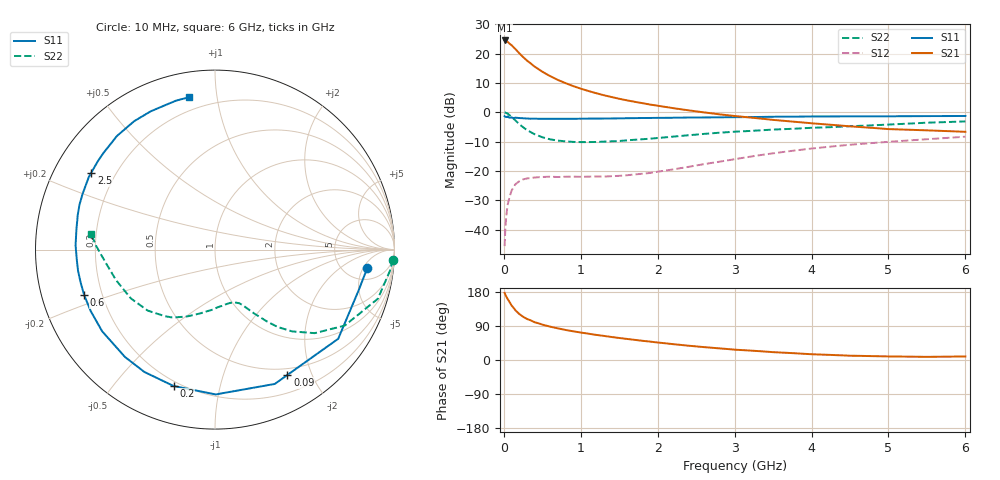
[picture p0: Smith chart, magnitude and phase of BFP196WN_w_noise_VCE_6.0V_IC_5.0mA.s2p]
! Infineon Technologies  Discrete & RF Semiconductors
! BFP196WN
! VCE =  6.0 V,  IC =  5.0 mA
! Common Emitter S-Parameters:  Jan 2017
# GHz  S  MA  R  50
!  f  S11  S21  S12  S22
! GHz  MAG  ANG  MAG  ANG  MAG  ANG  MAG  ANG
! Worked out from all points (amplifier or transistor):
!   77 points, 10 MHz to 6 GHz, reference 50 ohm
!   highest |S21| = 24.5 dB at 10 MHz (marker M1)
!   |S21| within 3 dB of that: start of sweep to 152.8 MHz
!   unconditionally stable (mu >= 1): 1.359 GHz to 2.587 GHz
!   at 130 MHz: K = 0.12, MSG = 23.7 dB, |S12| = -25.4 dB
!   at 2.2 GHz: K = 1.08, MAG = 8.7 dB, |S12| = -19.5 dB
!   at 6 GHz: K = 0.90, MSG = 0.8 dB, |S12| = -8.4 dB
!   lowest NFmin = 1.08 dB at 450 MHz
!   S11 on the Smith chart (normalised r, x): 10 MHz: 8, -6; 90 MHz: 0.41, -1.66; 200 MHz: 0.18, -0.73; 600 MHz: 0.13, -0.17; 2.5 GHz: 0.11, +0.28; 6 GHz: 0.13, +0.84
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0.01  0.8553 -6.7  16.69 177.1  0.0052 84.4  0.9924 -3.2
0.02  0.8319 -15.8  16.27 172.1  0.0107 84.7  0.9817 -6.9
0.05  0.8474 -35.9  15.82 160.6  0.0265 72.5  0.9479 -16.8
0.09  0.8066 -60.0  14.17 147.6  0.0418 59.6  0.8552 -27.4
0.1  0.8193 -66.0  13.89 143.9  0.0458 57.7  0.8372 -30.4
0.15  0.8069 -89.7  11.93 131.2  0.0591 46.8  0.7242 -40.0
0.2  0.7942 -106.9  10.13 121.5  0.0663 39.7  0.6262 -46.7
0.25  0.7872 -120.0  8.712 114.1  0.0715 34.2  0.5547 -51.0
0.3  0.7806 -130.0  7.596 108.4  0.0741 30.7  0.4947 -54.1
0.4  0.7762 -144.1  5.98 99.7  0.077 26.2  0.4204 -58.3
0.5  0.7726 -153.7  4.896 93.4  0.0786 23.9  0.3738 -61.3
0.6  0.7717 -160.8  4.129 88.1  0.0795 22.9  0.345 -63.6
0.7  0.7708 -166.5  3.555 83.6  0.0785 23.0  0.3279 -65.7
0.8  0.7721 -171.2  3.135 79.4  0.0794 23.9  0.3185 -68.2
1.1  0.7772 178.3  2.296 69.4  0.0797 28.2  0.3092 -76.3
1.5  0.7842 168.1  1.693 58.1  0.0822 37.5  0.3228 -88.0
2.1  0.8016 155.6  1.229 44.1  0.1011 52.6  0.3723 -105.3
2.5  0.8116 148.2  1.033 35.9  0.1234 59.0  0.4148 -115.5
3.1  0.8233 137.7  0.836 26.1  0.166 61.8  0.4713 -129.3
4.1  0.8452 120.8  0.632 14.5  0.2475 56.8  0.5466 -152.6
5.1  0.8518 108.4  0.51 9.2  0.3188 47.7  0.6239 -175.4
6  0.8615 99.6  0.463 9.4  0.3817 39.7  0.6958 172.7
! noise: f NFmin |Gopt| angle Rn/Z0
0.45  1.08  0.44  121  0.07
0.9  1.21  0.58  158  0.06
1.9  2.72  0.75  203  0.15
2.4  3.62  0.76  211  0.29
